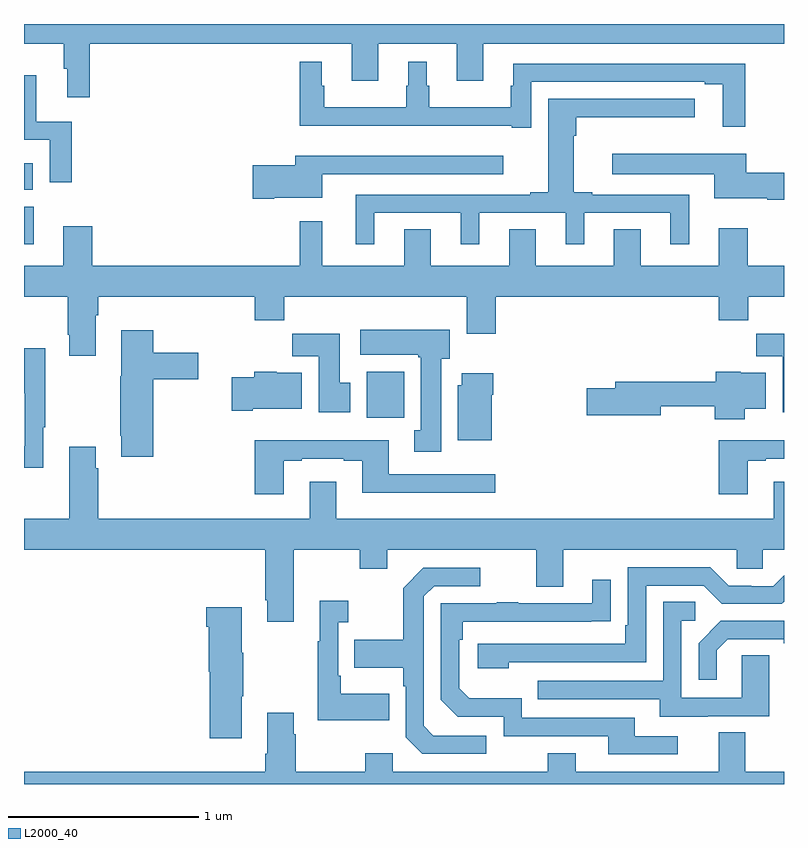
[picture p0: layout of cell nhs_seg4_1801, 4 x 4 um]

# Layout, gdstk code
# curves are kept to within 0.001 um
import gdstk
lib = gdstk.Library(unit=1e-6, precision=1e-09)
def R(c, l, rs):  # rectangles x0, y0, x1, y1
    for r in rs: c.add(gdstk.rectangle(r[:2], r[2:], *l))
def P(c, l, *ps):  # polygons
    for p in ps: c.add(gdstk.Polygon(p, *l))
L2000_40 = (2000, 40)

nhs_seg4_1801 = lib.new_cell('nhs_seg4_1801')
R(nhs_seg4_1801, L2000_40, [(204.803,818.828,205,819.07), (203,819.741,203.05,819.939), (203,820.028,203.047,820.168)])
P(nhs_seg4_1801, L2000_40, [(203.345,820.796),(204.725,820.796),(204.725,820.602),(204.865,820.602),(204.865,820.796),(205.277,820.796),(205.277,820.602),(205.417,820.602),(205.417,820.796),(207,820.796),(207,820.9),(203,820.9),(203,820.796),(203.209,820.796),(203.209,820.664),(203.228,820.664),(203.228,820.515),(203.345,820.515)],
  [(205.671,820.596),(206.582,820.596),(206.582,820.584),(206.678,820.584),(206.678,820.359),(206.795,820.359),(206.795,820.692),(205.574,820.692),(205.574,820.574),(205.563,820.574),(205.563,820.462),(205.132,820.462),(205.132,820.574),(205.12,820.574),(205.12,820.702),(205.022,820.702),(205.022,820.574),(205.011,820.574),(205.011,820.462),(204.58,820.462),(204.58,820.574),(204.568,820.574),(204.568,820.702),(204.451,820.702),(204.451,820.364),(205.568,820.364),(205.568,820.353),(205.671,820.353)],
  [(203.252,820.386),(203.065,820.386),(203.065,820.63),(203,820.63),(203,820.29),(203.136,820.29),(203.136,820.068),(203.252,820.068)],
  [(204.844,819.906),(205.298,819.906),(205.298,819.741),(205.396,819.741),(205.396,819.906),(205.85,819.906),(205.85,819.741),(205.948,819.741),(205.948,819.906),(206.402,819.906),(206.402,819.741),(206.5,819.741),(206.5,820.002),(205.99,820.002),(205.99,820.015),(205.894,820.015),(205.894,820.313),(205.907,820.313),(205.907,820.409),(206.53,820.409),(206.53,820.506),(205.76,820.506),(205.76,820.015),(205.664,820.015),(205.664,820.002),(204.746,820.002),(204.746,819.741),(204.844,819.741)],
  [(207,820.118),(206.8,820.118),(206.8,820.216),(206.097,820.216),(206.097,820.109),(206.633,820.109),(206.633,819.983),(206.912,819.983),(206.912,819.976),(207,819.976)],
  [(204.316,819.986),(204.571,819.986),(204.571,820.11),(205.522,820.11),(205.522,820.207),(204.428,820.207),(204.428,820.157),(204.204,820.157),(204.204,819.979),(204.316,819.979)],
  [(205.331,819.27),(205.484,819.27),(205.484,819.464),(206.657,819.464),(206.657,819.34),(206.813,819.34),(206.813,819.464),(207,819.464),(207,819.628),(206.81,819.628),(206.81,819.826),(206.657,819.826),(206.657,819.628),(206.245,819.628),(206.245,819.821),(206.105,819.821),(206.105,819.628),(205.693,819.628),(205.693,819.821),(205.553,819.821),(205.553,819.628),(205.141,819.628),(205.141,819.821),(205.001,819.821),(205.001,819.628),(204.569,819.628),(204.569,819.862),(204.451,819.862),(204.451,819.628),(203.36,819.628),(203.36,819.835),(203.207,819.835),(203.207,819.628),(203,819.628),(203,819.464),(203.23,819.464),(203.23,819.265),(203.237,819.265),(203.237,819.153),(203.377,819.153),(203.377,819.368),(203.39,819.368),(203.39,819.464),(204.215,819.464),(204.215,819.34),(204.371,819.34),(204.371,819.464),(205.331,819.464)],
  [(205.195,819.138),(205.24,819.138),(205.24,819.292),(204.771,819.292),(204.771,819.158),(205.075,819.158),(205.075,819.145),(205.088,819.145),(205.088,818.762),(205.055,818.762),(205.055,818.649),(205.195,818.649)],
  [(203.681,819.029),(203.917,819.029),(203.917,819.171),(203.681,819.171),(203.681,819.289),(203.513,819.289),(203.513,819.045),(203.506,819.045),(203.506,818.734),(203.513,818.734),(203.513,818.622),(203.681,818.622)],
  [(207,819.271),(206.854,819.271),(206.854,819.152),(206.993,819.152),(206.993,818.856),(207,818.856)],
  [(204.718,819.012),(204.661,819.012),(204.661,819.271),(204.412,819.271),(204.412,819.152),(204.551,819.152),(204.551,818.856),(204.718,818.856)],
  [(203.101,818.777),(203.113,818.777),(203.113,819.193),(203,819.193),(203,818.957),(203.004,818.957),(203.004,818.678),(203,818.678),(203,818.565),(203.101,818.565)],
  [(204.205,818.876),(204.463,818.876),(204.463,819.064),(204.33,819.064),(204.33,819.07),(204.212,819.07),(204.212,819.042),(204.093,819.042),(204.093,818.864),(204.205,818.864)],
  [(206.794,818.876),(206.905,818.876),(206.905,819.064),(206.772,819.064),(206.772,819.07),(206.642,819.07),(206.642,819.016),(206.111,819.016),(206.111,818.982),(205.962,818.982),(205.962,818.84),(206.35,818.84),(206.35,818.887),(206.636,818.887),(206.636,818.819),(206.794,818.819)],
  [(205.462,818.948),(205.47,818.948),(205.47,819.061),(205.304,819.061),(205.304,819),(205.283,819),(205.283,818.708),(205.462,818.708)],
  [(204.367,818.601),(204.463,818.601),(204.463,818.613),(204.683,818.613),(204.683,818.601),(204.779,818.601),(204.779,818.432),(205.48,818.432),(205.48,818.529),(204.919,818.529),(204.919,818.71),(204.215,818.71),(204.215,818.424),(204.367,818.424)],
  [(206.809,818.601),(206.905,818.601),(206.905,818.613),(207,818.613),(207,818.71),(206.657,818.71),(206.657,818.424),(206.809,818.424)],
  [(204.421,818.132),(204.766,818.132),(204.766,818.033),(204.913,818.033),(204.913,818.132),(205.697,818.132),(205.697,817.938),(205.837,817.938),(205.837,818.132),(206.751,818.132),(206.751,818.034),(206.889,818.034),(206.889,818.132),(207,818.132),(207,818.491),(206.945,818.491),(206.945,818.296),(204.643,818.296),(204.643,818.491),(204.503,818.491),(204.503,818.296),(203.39,818.296),(203.39,818.561),(203.377,818.561),(203.377,818.674),(203.237,818.674),(203.237,818.296),(203,818.296),(203,818.132),(204.269,818.132),(204.269,817.867),(204.281,817.867),(204.281,817.755),(204.421,817.755)],
  [(205.55,817.542),(206.274,817.542),(206.274,817.944),(206.577,817.944),(206.673,817.848),(206.988,817.848),(207,817.86),(207,817.998),(206.943,817.941),(206.828,817.941),(206.828,817.944),(206.709,817.944),(206.613,818.04),(206.178,818.04),(206.178,817.735),(206.165,817.735),(206.165,817.638),(205.389,817.638),(205.389,817.508),(205.55,817.508)],
  [(205.432,817.155),(205.155,817.155),(205.104,817.206),(205.104,817.887),(205.158,817.941),(205.402,817.941),(205.402,818.037),(205.101,818.037),(204.996,817.931),(204.996,817.659),(204.739,817.659),(204.739,817.511),(204.996,817.511),(204.996,817.415),(205.008,817.415),(205.008,817.146),(205.095,817.059),(205.432,817.059)],
  [(206.44,817.152),(206.215,817.152),(206.215,817.248),(205.62,817.248),(205.62,817.351),(205.343,817.351),(205.29,817.404),(205.29,817.658),(205.31,817.658),(205.31,817.755),(206.087,817.756),(206.087,817.975),(205.991,817.975),(205.991,817.851),(205.601,817.851),(205.601,817.856),(205.489,817.856),(205.489,817.851),(205.194,817.851),(205.194,817.344),(205.284,817.254),(205.524,817.254),(205.524,817.152),(206.075,817.152),(206.075,817.056),(206.44,817.056)],
  [(204.923,817.375),(204.667,817.375),(204.667,817.471),(204.654,817.471),(204.654,817.751),(204.706,817.751),(204.706,817.864),(204.557,817.864),(204.557,817.651),(204.546,817.651),(204.546,817.235),(204.923,817.235)],
  [(206.599,817.257),(206.923,817.257),(206.923,817.577),(206.778,817.577),(206.778,817.353),(206.46,817.353),(206.46,817.758),(206.533,817.758),(206.533,817.859),(206.364,817.859),(206.364,817.443),(205.705,817.443),(205.705,817.347),(206.345,817.347),(206.345,817.253),(206.599,817.253)],
  [(204.145,817.363),(204.153,817.363),(204.153,817.591),(204.145,817.591),(204.145,817.831),(203.96,817.831),(203.96,817.727),(203.972,817.727),(203.972,817.491),(203.978,817.491),(203.978,817.14),(204.145,817.14)],
  [(206.647,817.605),(206.704,817.662),(206.999,817.662),(206.999,817.64),(207,817.64),(207,817.758),(206.666,817.758),(206.55,817.642),(206.55,817.449),(206.647,817.449)],
  [(207,816.964),(206.797,816.964),(206.797,817.172),(206.657,817.172),(206.657,816.964),(205.903,816.964),(205.903,817.063),(205.756,817.063),(205.756,816.964),(204.942,816.964),(204.942,817.063),(204.796,817.063),(204.796,816.964),(204.429,816.964),(204.429,817.163),(204.421,817.163),(204.421,817.276),(204.281,817.276),(204.281,817.06),(204.269,817.06),(204.269,816.964),(203,816.964),(203,816.9),(207,816.9)])

lib.write_gds('nhs_seg4_1801.gds')
